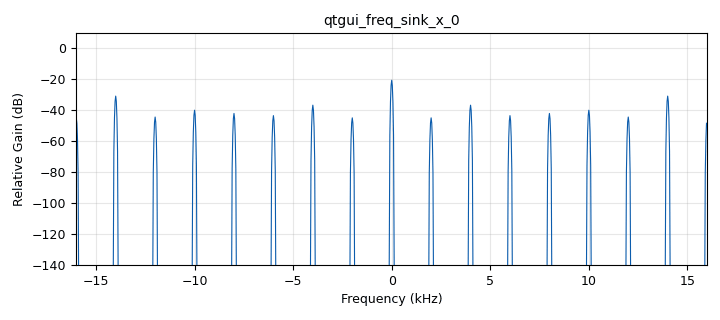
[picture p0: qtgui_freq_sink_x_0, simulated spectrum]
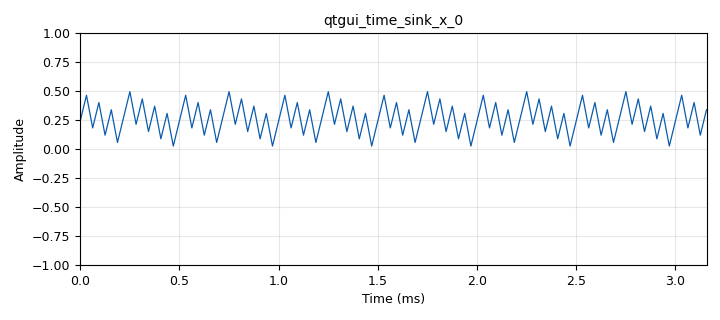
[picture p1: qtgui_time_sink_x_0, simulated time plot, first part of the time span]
options:
  parameters:
    author: uis-e3t
    generate_options: qt_gui
    id: lab3_paer2c
    output_language: python
    title: Not titled yet
  states: {}

blocks:
- name: samp_rate
  id: variable
  parameters:
    value: '32000'
  states: {}
- name: analog_sig_source_x_0
  id: analog_sig_source_x
  parameters:
    amp: '1'
    freq: '46000'
    offset: '0'
    phase: '0'
    samp_rate: samp_rate
    type: float
    waveform: analog.GR_SAW_WAVE
  states: {}
- name: analog_sig_source_x_1
  id: analog_sig_source_x
  parameters:
    amp: '1'
    freq: 2304e3
    offset: '0'
    phase: '0'
    samp_rate: samp_rate
    type: float
    waveform: analog.GR_SAW_WAVE
  states: {}
- name: blocks_multiply_xx_0
  id: blocks_multiply_xx
  parameters:
    type: float
  states: {}
- name: qtgui_freq_sink_x_0
  id: qtgui_freq_sink_x
  parameters:
    bw: samp_rate
    fc: '0'
    fftsize: '1024'
    type: float
    wintype: firdes.WIN_BLACKMAN_hARRIS
  states: {}
- name: qtgui_time_sink_x_0
  id: qtgui_time_sink_x
  parameters:
    size: '1024'
    srate: samp_rate
    type: float
  states: {}

connections:
- [analog_sig_source_x_0, '0', blocks_multiply_xx_0, '0']
- [analog_sig_source_x_1, '0', blocks_multiply_xx_0, '1']
- [blocks_multiply_xx_0, '0', qtgui_freq_sink_x_0, '0']
- [blocks_multiply_xx_0, '0', qtgui_time_sink_x_0, '0']

metadata:
  file_format: 1
